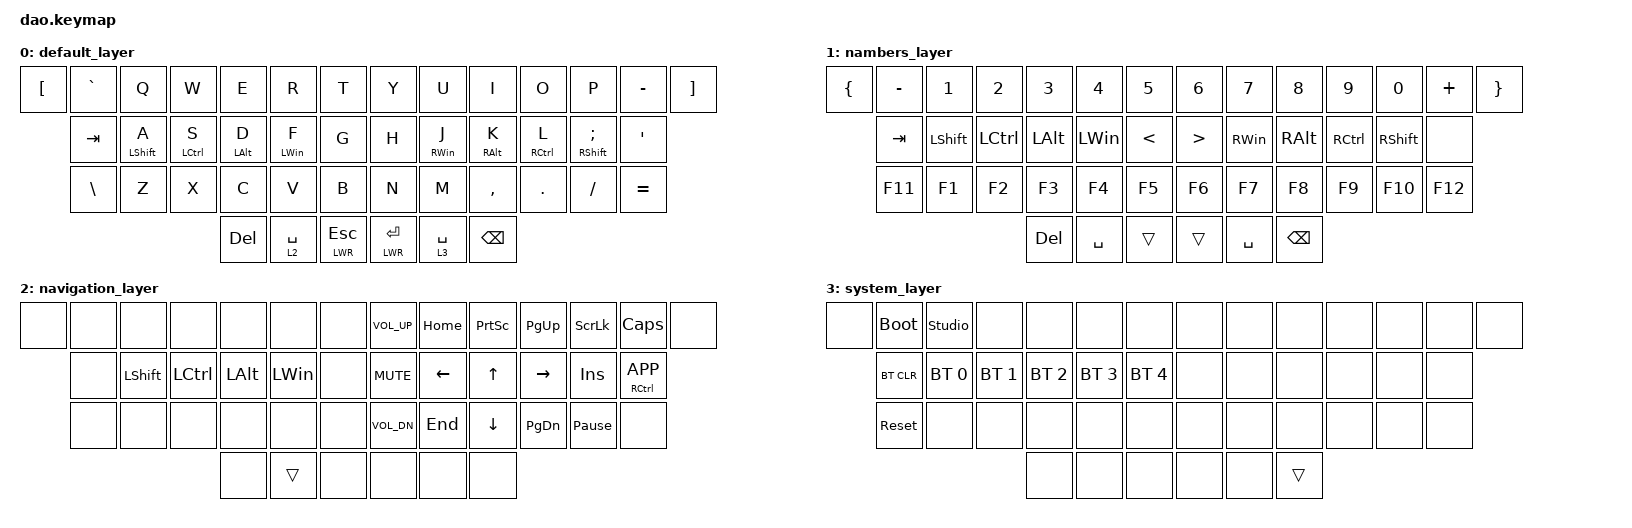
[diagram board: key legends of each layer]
/*
 * Copyright (c) 2021 Rafael Yumagulov
 *
 * SPDX-License-Identifier: MIT
 */

#include <behaviors.dtsi>
#include <dt-bindings/zmk/bt.h>
#include <dt-bindings/zmk/keys.h>

#define DEF 0
#define LWR 1
#define RSE 2
#define ADJ 3

&lt {
    quick_tap_ms = <200>;
};
&mt {
    quick_tap_ms = <200>;
};

/ {
    chosen {
        // zmk,matrix_transform = &default_transform;
        // zmk,matrix_transform = &extra_keys_transform;

        zmk,physical_layout = &dao_full_layout;
    };
};

/ {
    behaviors {
        hm: homerow_mods {
            compatible = "zmk,behavior-hold-tap";
            label = "HOMEROW_MODS";
            #binding-cells = <2>;
            tapping-term-ms = <200>;
            quick-tap-ms = <0>;
            flavor = "tap-preferred";
            bindings = <&kp>, <&kp>;
        };
    };

    keymap {
        compatible = "zmk,keymap";

        default_layer {
            bindings = <
&kp LBKT  &kp GRAVE  &kp Q         &kp W        &kp E       &kp R        &kp T          &kp Y        &kp U        &kp I       &kp O        &kp P            &kp MINUS  &kp RBKT
          &kp TAB    &hm LSHIFT A  &hm LCTRL S  &hm LALT D  &hm LWIN F   &kp G          &kp H        &hm RWIN J   &hm RALT K  &hm RCTRL L  &hm RSHIFT SEMI  &kp SQT
          &kp BSLH   &kp Z         &kp X        &kp C       &kp V        &kp B          &kp N        &kp M        &kp COMMA   &kp DOT      &kp FSLH         &kp EQUAL
                                                &kp DEL     &lt 2 SPACE  &lt LWR ESC    &lt LWR RET  &lt 3 SPACE  &kp BSPC
            >;
        };

        nambers_layer {
            bindings = <
&kp LBRC  &kp MINUS  &kp N1      &kp N2     &kp N3    &kp N4     &kp N5    &kp N6  &kp N7     &kp N8    &kp N9     &kp N0      &kp PLUS  &kp RBRC
          &kp TAB    &kp LSHIFT  &kp LCTRL  &kp LALT  &kp LWIN   &kp LT    &kp GT  &kp RWIN   &kp RALT  &kp RCTRL  &kp RSHIFT  &none
          &kp F11    &kp F1      &kp F2     &kp F3    &kp F4     &kp F5    &kp F6  &kp F7     &kp F8    &kp F9     &kp F10     &kp F12
                                            &kp DEL   &kp SPACE  &trans    &trans  &kp SPACE  &kp BSPC
            >;
        };

        navigation_layer {
            bindings = <
&none  &none  &none       &none      &none     &none     &none    &kp C_VOL_UP  &kp HOME  &kp PSCRN  &kp PG_UP  &kp SLCK         &kp CAPS         &none
       &none  &kp LSHIFT  &kp LCTRL  &kp LALT  &kp LWIN  &none    &kp C_MUTE    &kp LEFT  &kp UP     &kp RIGHT  &kp INS          &mt RCTRL K_APP
       &none  &none       &none      &none     &none     &none    &kp C_VOL_DN  &kp END   &kp DOWN   &kp PG_DN  &kp PAUSE_BREAK  &none
                                     &none     &trans    &none    &none         &none     &none
            >;
        };

        system_layer {
            bindings = <
&none  &bootloader  &studio_unlock  &none         &none         &none         &none           &none  &none  &none   &none  &none  &none  &none
       &bt BT_CLR   &bt BT_SEL 0    &bt BT_SEL 1  &bt BT_SEL 2  &bt BT_SEL 3  &bt BT_SEL 4    &none  &none  &none   &none  &none  &none
       &sys_reset   &none           &none         &none         &none         &none           &none  &none  &none   &none  &none  &none
                                                  &none         &none         &none           &none  &none  &trans
            >;
        };
    };
};
